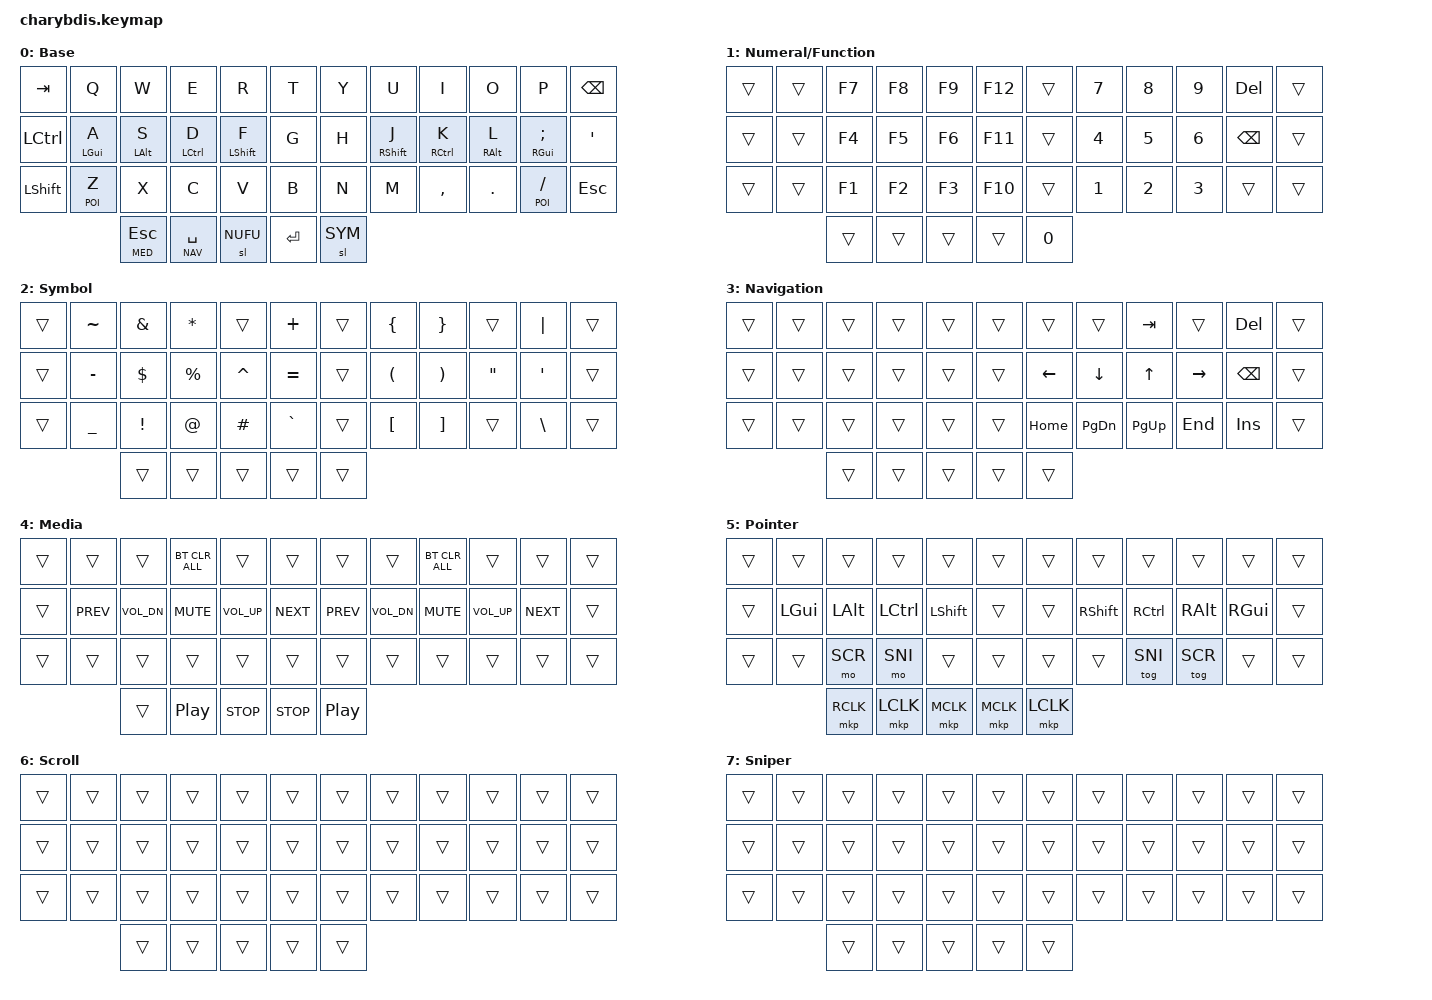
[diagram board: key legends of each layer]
#include <dt-bindings/zmk/mouse.h>
#include <behaviors/mouse_keys.dtsi>
#include <behaviors.dtsi>
#include <dt-bindings/zmk/bt.h>
#include <dt-bindings/zmk/keys.h>

#define BASE 0
#define NUFU 1
#define SYM 2
#define NAV 3
#define MED 4
#define POI 5
#define SCR 6
#define SNI 7

&sl {
  release-after-ms = <250>;
};

&mt {
    tapping-term-ms = <200>;
    require-prior-idle-ms = <150>;
};

/ {
    chosen { zmk,matrix_transform = &default_transform; };

    #include "combos.dtsi"

    behaviors {
        hml: homewrow_mods_left {
            compatible = "zmk,behavior-hold-tap";
            label = "HOMEROW_MODS_LEFT_HAND";
            bindings = <&kp>, <&kp>;

            #binding-cells = <2>;
            tapping-term-ms = <280>;
            hold-trigger-key-positions = <5 6 7 8 9 15 16 17 18 19 25 26 27 28 29 33 34>;
            flavor = "balanced";
            quick-tap-ms = <175>;
            require-prior-idle-ms = <125>;
            hold-trigger-on-release;
        };

        hmr: homewrow_mods_right {
            compatible = "zmk,behavior-hold-tap";
            label = "HOMEROW_MODS_RIGHT_HAND";
            bindings = <&kp>, <&kp>;

            #binding-cells = <2>;
            tapping-term-ms = <280>;
            hold-trigger-key-positions = <0 1 2 3 4 10 11 12 13 14 20 21 22 23 24 30 31 32>;
            flavor = "balanced";
            quick-tap-ms = <175>;
            require-prior-idle-ms = <125>;
            hold-trigger-on-release;
        };
    };


    keymap {
        compatible = "zmk,keymap";
        Base {
            label = "Base";
            bindings = <
              &kp TAB  &kp       Q  &kp       W  &kp        E  &kp        R  &kp T        &kp Y  &kp        U  &kp        I  &kp       O  &kp               P  &kp BACKSPACE  
              &kp LCTRL  &hml LGUI A  &hml LALT S  &hml LCTRL D  &hml LSHFT F  &kp G        &kp H  &hml RSHFT J  &hml RCTRL K  &hml RALT L  &hml RGUI SEMICOLON  &kp SQT  
              &kp LSHFT  &lt   POI Z  &kp       X  &kp        C  &kp        V  &kp B        &kp N  &kp        M  &kp    COMMA  &kp     DOT  &lt POI SLASH &kp ESC  
                                        &lt MED ESC  &lt NAV SPACE  &sl NUFU     &kp ENTER &sl SYM
            >;
        };

        NuFu {
            label = "Numeral/Function";
            bindings = <
                &trans  &trans  &kp F7  &kp F8  &kp F9 &kp F12        &trans  &kp N7  &kp N8  &kp N9  &kp DELETE &trans  
                &trans  &trans  &kp F4  &kp F5  &kp F6 &kp F11        &trans  &kp N4  &kp N5  &kp N6  &kp BACKSPACE &trans  
                &trans  &trans  &kp F1  &kp F2  &kp F3 &kp F10        &trans  &kp N1  &kp N2  &kp N3  &trans &trans  
                                &trans  &trans  &trans        &trans &kp N0 
            >;
        };

        Symbol {
            label = "Symbol";
            bindings = <
              &trans  &kp TILDE &kp AMPS  &kp STAR   &trans    &kp PLUS        &trans &kp LBRC  &kp RBRC  &trans  &kp PIPE &trans  
              &trans  &kp MINUS &kp DLLR  &kp PRCNT  &kp CARET &kp EQUAL       &trans &kp LPAR  &kp RPAR  &kp DQT &kp APOS &trans  
              &trans  &kp UNDER &kp EXCL  &kp AT     &kp HASH  &kp GRAVE       &trans &kp LBKT  &kp RBKT  &trans  &kp BSLH &trans  
                                  &trans     &trans    &trans          &trans &trans
            >;
        };

        Navigation {
            label = "Navigation";
            bindings = <
                         &trans  &trans  &trans  &trans  &trans  &trans         &trans    &trans         &kp TAB      &trans    &kp DELETE &trans  
                         &trans  &trans  &trans  &trans  &trans  &trans         &kp LEFT  &kp DOWN       &kp UP       &kp RIGHT &kp BACKSPACE &trans  
                         &trans  &trans  &trans  &trans  &trans  &trans         &kp HOME  &kp PAGE_DOWN  &kp PAGE_UP  &kp END   &kp INS &trans  
                                         &trans  &trans  &trans         &trans    &trans
            >;
        };

        Media {
            label = "Media";
            bindings = <
              &trans  &trans     &trans        &bt BT_CLR_ALL &trans       &trans            &trans      &trans        &bt BT_CLR_ALL  &trans        &trans &trans  
              &trans  &kp C_PREV &kp C_VOL_DN  &kp C_MUTE     &kp C_VOL_UP &kp C_NEXT        &kp C_PREV  &kp C_VOL_DN  &kp C_MUTE      &kp C_VOL_UP  &kp C_NEXT &trans  
              &trans  &trans     &trans        &trans         &trans       &trans            &trans      &trans        &trans          &trans        &trans &trans  
                                       &trans    &kp C_PLAY_PAUSE  &kp C_STOP        &kp C_STOP  &kp C_PLAY_PAUSE
            >;
        };

        Pointer {
            label = "Pointer";
            bindings = <
              &trans  &trans       &trans       &trans        &trans        &trans               &trans &trans        &trans        &trans       &trans &trans  
              &trans  &kp LGUI     &kp LALT     &kp LCTRL     &kp LSHFT     &trans               &trans &kp RSHFT     &kp RCTRL     &kp RALT     &kp RGUI &trans  
              &trans  &trans       &mo SCR      &mo SNI       &trans        &trans               &trans &trans        &tog SNI      &tog SCR     &trans &trans  
                                            &mkp RCLK  &mkp LCLK  &mkp MCLK         &mkp MCLK  &mkp LCLK
            >;
        };

        Scroll {
            label = "Scroll";
            bindings = <
                &trans  &trans  &trans  &trans  &trans  &trans    &trans  &trans  &trans  &trans  &trans &trans  
                &trans  &trans  &trans  &trans  &trans  &trans    &trans  &trans  &trans  &trans  &trans &trans  
                &trans  &trans  &trans  &trans  &trans  &trans    &trans  &trans  &trans  &trans  &trans &trans  
                                &trans  &trans  &trans    &trans  &trans
            >;
        };

        Sniper {
            label = "Sniper";
            bindings = <
                &trans  &trans  &trans  &trans  &trans  &trans    &trans  &trans  &trans  &trans  &trans &trans  
                &trans  &trans  &trans  &trans  &trans  &trans    &trans  &trans  &trans  &trans  &trans &trans  
                &trans  &trans  &trans  &trans  &trans  &trans    &trans  &trans  &trans  &trans  &trans &trans  
                                &trans  &trans  &trans    &trans  &trans
            >;
        };
    };
};
